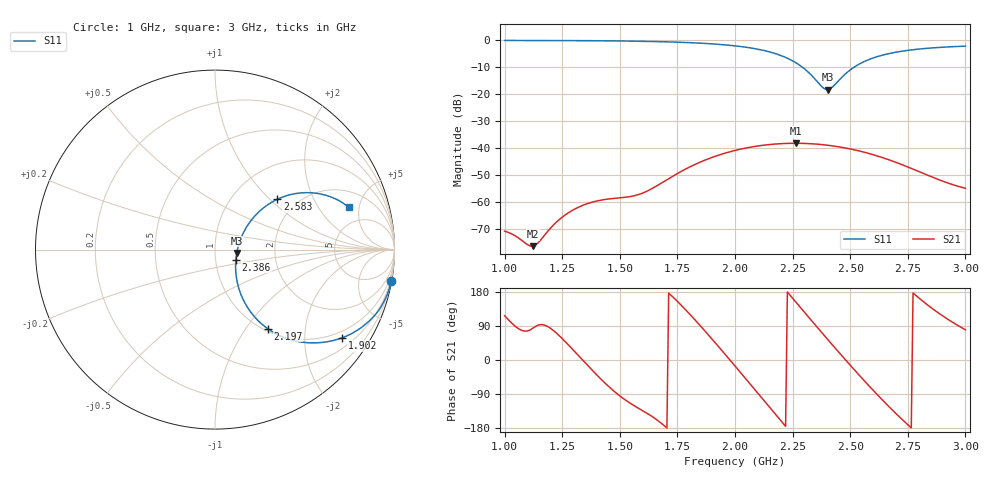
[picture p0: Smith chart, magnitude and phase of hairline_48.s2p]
! TOUCHSTONE file generated by CST MICROWAVE STUDIO
! Date and time: Tue Mar 18 20:31:59 2025
! Project name: hairline.cst
! Parameters = {B=12.5; D=160; F=25; Feed=2.85625; Fracture=2; L=100; M=50; R=0.384908; S=1.5; Theta=270; length=57.125; wave=114.25}
! Header version: 2024
! Port assignment regex: !\s*Touchstone port\s*([0-9]+)\s*=\s*(CST MWS port|CST DES external port|CST DES block port)\s*(.+)\s* \(\"(.*)\"\)(\s*mode\s*([0-9]+))?.*
! Touchstone port assignment:
! Touchstone port 1 = CST MWS port 1 ("")
! Touchstone port 2 = CST MWS port 2 ("")
# GHz S DB R 50
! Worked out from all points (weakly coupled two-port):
!   265 points, 1 GHz to 3 GHz, reference 50 ohm
!   highest |S21| = -38.09 dB at 2.265 GHz (marker M1); lowest = -76.2 dB at 1.121 GHz (marker M2)
!   lowest |S11| = -18.2 dB at 2.402 GHz (marker M3), VSWR 1.28, Z = 63.7 - j2.51 ohm
!   |S11| at or under -10 dB: 2.294 GHz to 2.515 GHz (221.8 MHz wide, 9.22 % of centre)
!   S12 and S22 are empty: the file has one direction only
!   S11 on the Smith chart (normalised r, x): 1 GHz: 0, -11; 1.902 GHz: 0.79, -3.01; 2.197 GHz: 1.04, -1.27; 2.386 GHz: 1.25, -0.14; 2.583 GHz: 1.59, +1.11; 3 GHz: 3.24, +3.94
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1  -0.02 -10.0  -70.63 117.0  -200.00 0.0  -200.00 0.0
1.12121  -0.03 -11.7  -76.19 83.3  -200.00 0.0  -200.00 0.0
1.14394  -0.04 -12.1  -75.09 91.5  -200.00 0.0  -200.00 0.0
1.24242  -0.06 -13.8  -65.96 61.0  -200.00 0.0  -200.00 0.0
1.34091  -0.10 -15.7  -61.02 -1.7  -200.00 0.0  -200.00 0.0
1.41667  -0.14 -17.3  -59.17 -49.5  -200.00 0.0  -200.00 0.0
1.56818  -0.28 -21.3  -57.41 -122.6  -200.00 0.0  -200.00 0.0
1.66667  -0.46 -24.5  -53.55 -160.5  -200.00 0.0  -200.00 0.0
1.79545  -0.80 -29.5  -47.21 126.2  -200.00 0.0  -200.00 0.0
1.90152  -1.29 -34.8  -43.29 54.3  -200.00 0.0  -200.00 0.0
2  -2.02 -40.7  -40.74 -15.8  -200.00 0.0  -200.00 0.0
2.10606  -3.38 -48.7  -39.00 -92.6  -200.00 0.0  -200.00 0.0
2.19697  -5.53 -56.3  -38.25 -158.6  -200.00 0.0  -200.00 0.0
2.26515  -8.33 -60.5  -38.09 152.0  -200.00 0.0  -200.00 0.0
2.34091  -13.72 -54.0  -38.32 97.7  -200.00 0.0  -200.00 0.0
2.38636  -17.78 -25.6  -38.66 65.4  -200.00 0.0  -200.00 0.0
2.40152  -18.22 -9.1  -38.81 54.7  -200.00 0.0  -200.00 0.0
2.50758  -10.46 40.4  -40.32 -18.8  -200.00 0.0  -200.00 0.0
2.58333  -7.02 38.9  -41.92 -69.4  -200.00 0.0  -200.00 0.0
2.66667  -4.91 33.7  -44.17 -122.2  -200.00 0.0  -200.00 0.0
2.81818  -3.04 24.8  -49.27 153.7  -200.00 0.0  -200.00 0.0
3  -2.12 17.5  -54.75 79.7  -200.00 0.0  -200.00 0.0
